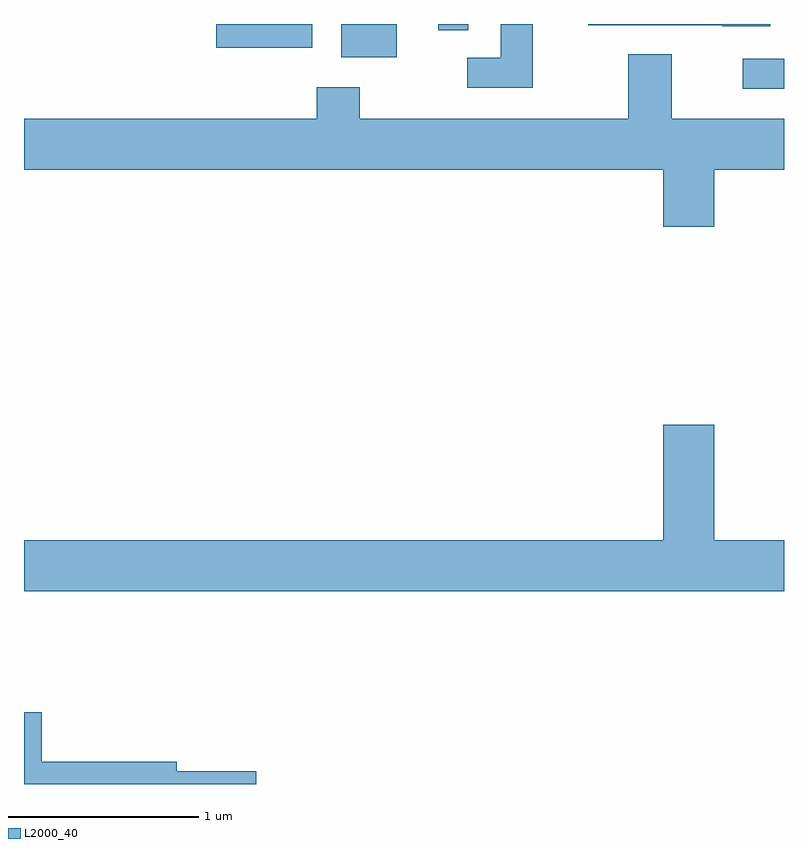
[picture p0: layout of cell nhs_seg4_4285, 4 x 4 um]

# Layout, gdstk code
import gdstk
lib = gdstk.Library(unit=1e-6, precision=1e-09)
def R(c, l, rs):  # rectangles x0, y0, x1, y1
    for r in rs: c.add(gdstk.rectangle(r[:2], r[2:], *l))
def P(c, l, *ps):  # polygons
    for p in ps: c.add(gdstk.Polygon(p, *l))
L2000_40 = (2000, 40)

nhs_seg4_4285 = lib.new_cell('nhs_seg4_4285')
R(nhs_seg4_4285, L2000_40, [(315.393,1259.641,315.611,1259.799), (313.281,1259.806,313.574,1259.982), (312.623,1259.856,313.129,1259.982), (313.791,1259.948,313.949,1259.982)])
P(nhs_seg4_4285, L2000_40, [(314.289,1259.982),(314.121,1259.982),(314.121,1259.804),(313.943,1259.804),(313.943,1259.646),(314.289,1259.646)],
  [(315.539,1259.982),(314.581,1259.982),(314.581,1259.976),(315.285,1259.976),(315.285,1259.971),(315.539,1259.971)],
  [(315.244,1259.216),(315.611,1259.216),(315.611,1259.484),(315.019,1259.484),(315.019,1259.824),(314.791,1259.824),(314.791,1259.484),(313.379,1259.484),(313.379,1259.649),(313.151,1259.649),(313.151,1259.484),(311.611,1259.484),(311.611,1259.216),(314.976,1259.216),(314.976,1258.916),(315.244,1258.916)],
  [(315.611,1257.264),(315.244,1257.264),(315.244,1257.874),(314.976,1257.874),(314.976,1257.264),(311.611,1257.264),(311.611,1256.996),(315.611,1256.996)],
  [(312.834,1256.049),(312.414,1256.049),(312.414,1256.099),(311.704,1256.099),(311.704,1256.359),(311.611,1256.359),(311.611,1255.982),(312.834,1255.982)])

lib.write_gds('nhs_seg4_4285.gds')
